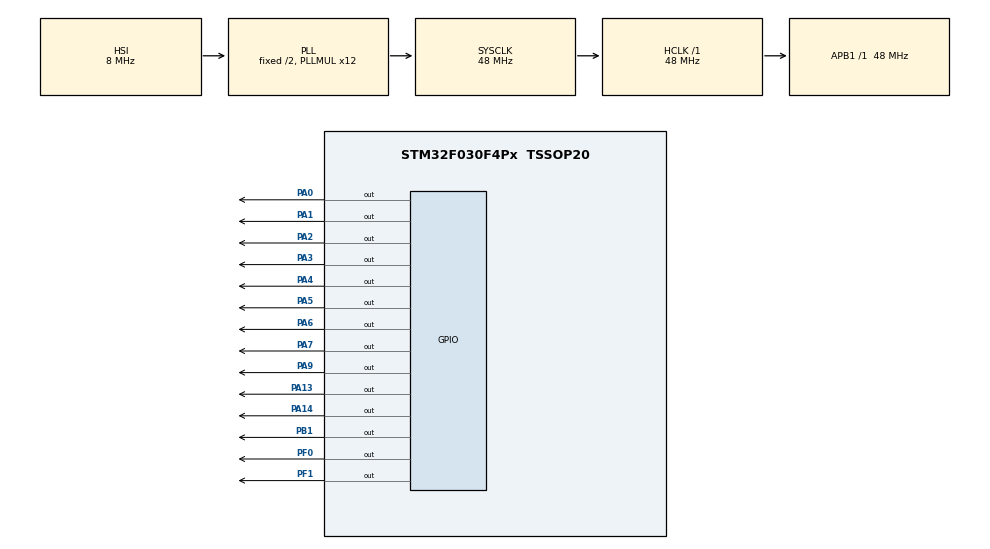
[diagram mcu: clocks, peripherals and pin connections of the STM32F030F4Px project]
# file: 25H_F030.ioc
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Mcu.Family=STM32F0
Mcu.Name=STM32F030F4Px
Mcu.Package=TSSOP20
NVIC.TIM1_BRK_UP_TRG_COM_IRQn=true\:0\:0\:false\:false\:true\:true\:true
PA0.GPIO_ModeDefaultOutputPP=GPIO_MODE_OUTPUT_PP
PA0.GPIO_Speed=GPIO_SPEED_FREQ_HIGH
PA0.PinState=GPIO_PIN_SET
PA0.Signal=GPIO_Output
PA1.GPIO_ModeDefaultOutputPP=GPIO_MODE_OUTPUT_PP
PA1.GPIO_Speed=GPIO_SPEED_FREQ_HIGH
PA1.PinState=GPIO_PIN_SET
PA1.Signal=GPIO_Output
PA13.GPIO_Speed=GPIO_SPEED_FREQ_HIGH
PA13.Signal=GPIO_Output
PA14.GPIO_Speed=GPIO_SPEED_FREQ_HIGH
PA14.Signal=GPIO_Output
PA2.GPIO_ModeDefaultOutputPP=GPIO_MODE_OUTPUT_PP
PA2.GPIO_Speed=GPIO_SPEED_FREQ_HIGH
PA2.PinState=GPIO_PIN_SET
PA2.Signal=GPIO_Output
PA3.GPIO_ModeDefaultOutputPP=GPIO_MODE_OUTPUT_PP
PA3.GPIO_Speed=GPIO_SPEED_FREQ_HIGH
PA3.PinState=GPIO_PIN_SET
PA3.Signal=GPIO_Output
PA4.GPIO_Speed=GPIO_SPEED_FREQ_HIGH
PA4.Signal=GPIO_Output
PA5.GPIO_ModeDefaultOutputPP=GPIO_MODE_OUTPUT_PP
PA5.GPIO_Speed=GPIO_SPEED_FREQ_HIGH
PA5.PinState=GPIO_PIN_RESET
PA5.Signal=GPIO_Output
PA6.GPIO_ModeDefaultOutputPP=GPIO_MODE_OUTPUT_PP
PA6.GPIO_Speed=GPIO_SPEED_FREQ_HIGH
PA6.PinState=GPIO_PIN_RESET
PA6.Signal=GPIO_Output
PA7.GPIO_ModeDefaultOutputPP=GPIO_MODE_OUTPUT_PP
PA7.GPIO_Speed=GPIO_SPEED_FREQ_HIGH
PA7.PinState=GPIO_PIN_RESET
PA7.Signal=GPIO_Output
PA9.GPIO_Speed=GPIO_SPEED_FREQ_HIGH
PA9.Signal=GPIO_Output
PB1.GPIO_ModeDefaultOutputPP=GPIO_MODE_OUTPUT_PP
PB1.GPIO_Speed=GPIO_SPEED_FREQ_HIGH
PB1.PinState=GPIO_PIN_RESET
PB1.Signal=GPIO_Output
PF0-OSC_IN.GPIO_ModeDefaultOutputPP=GPIO_MODE_OUTPUT_PP
PF0-OSC_IN.GPIO_Speed=GPIO_SPEED_FREQ_HIGH
PF0-OSC_IN.PinState=GPIO_PIN_SET
PF0-OSC_IN.Signal=GPIO_Output
PF1-OSC_OUT.GPIO_ModeDefaultOutputPP=GPIO_MODE_OUTPUT_PP
PF1-OSC_OUT.GPIO_Speed=GPIO_SPEED_FREQ_HIGH
PF1-OSC_OUT.PinState=GPIO_PIN_SET
PF1-OSC_OUT.Signal=GPIO_Output
ProjectManager.HeapSize=0x200
ProjectManager.StackSize=0x400
ProjectManager.TargetToolchain=MDK-ARM V5
RCC.AHBFreq_Value=48000000
RCC.APB1Freq_Value=48000000
RCC.APB1TimFreq_Value=48000000
RCC.HCLKFreq_Value=48000000
RCC.PLLMUL=RCC_PLL_MUL12
RCC.SYSCLKFreq_VALUE=48000000
RCC.SYSCLKSource=RCC_SYSCLKSOURCE_PLLCLK
TIM1.Period=100
TIM1.Prescaler=4607
VP_TIM1_VS_ClockSourceINT.Mode=Internal
board=custom

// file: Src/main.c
/* USER CODE BEGIN Header */
/**
  ******************************************************************************
  * @file           : main.c
  * @brief          : Main program body
  ******************************************************************************
  * @attention
  *
  * <h2><center>&copy; Copyright (c) 2019 STMicroelectronics.
  * All rights reserved.</center></h2>
  *
  * This software component is licensed by ST under BSD 3-Clause license,
  * the "License"; You may not use this file except in compliance with the
  * License. You may obtain a copy of the License at:
  *                        opensource.org/licenses/BSD-3-Clause
  *
  ******************************************************************************
  */
/* USER CODE END Header */

#include "main.h"

/* USER CODE BEGIN PD */
//时间
struct Time{
	uint16_t second;
	uint16_t minute;
	uint16_t hour;
	uint16_t cnt;
}time_25h;

//映射位选端口
GPIO_TypeDef *WeiGPIO[6] =	{
	GPIOA,
	GPIOA,
	GPIOA,
	GPIOB,
	GPIOA,
	GPIOA
};

uint16_t WeiPin[6]=
{
	GPIO_PIN_14,
	GPIO_PIN_13,
	GPIO_PIN_9,
	GPIO_PIN_1,
	GPIO_PIN_7,
	GPIO_PIN_6
};

//映射段选端口
GPIO_TypeDef *DuanGPIO[8] =	{
	GPIOF,
	GPIOF,
	GPIOA,
	GPIOA,
	GPIOA,
	GPIOA,
	GPIOA,
	GPIOA,
};

uint16_t DuanPin[8]=
{
	GPIO_PIN_0,
	GPIO_PIN_1,
	GPIO_PIN_0,
	GPIO_PIN_1,
	GPIO_PIN_2,
	GPIO_PIN_3,
	GPIO_PIN_4,
	GPIO_PIN_5
};
/* USER CODE END PD */

TIM_HandleTypeDef htim1;

/* USER CODE BEGIN PV */
//无所谓共阴共阳表，只不过取反操作，用“1”做测试
uint8_t NixieGraphNegative[16]={0x3F, 0x06, 0x5B, 0x4F, 0x66, 0x6D, 0x7D, 0x07,	0x7F, 0x6F, 0x77, 0x7C, 0x39, 0x5E, 0x79, 0x71};//0-F
uint8_t NixieGraphPositive[16]={0xc0,	0xf9,	0xa4,	0xb0,	0x99,	0x92,	0x82,	0xf8,	0x80,	0x90,	0x88,	0x83,	0xc6,	0xa1,	0x86,	0x8e};
/* USER CODE END PV */

void SystemClock_Config(void);
static void MX_GPIO_Init(void);
static void MX_TIM1_Init(void);

/* USER CODE BEGIN 0 */

//BS (共阴数码管显示
/**
  * @brief  选择的位数及显示的数字
  *
  * @param  wei 选择显示位数
  * @param  num 当前位显示的数字
  * @retval None
  */
void NixieLightDisplay(uint8_t wei,uint8_t num)
{
	uint8_t tmp;
	int i,j;

//操作 段
	for(j=0;j<7;j++)
	{
		tmp = NixieGraphNegative[num];
		if(((tmp>>j)&0x01) == 0x01)
			HAL_GPIO_WritePin(DuanGPIO[j],DuanPin[j],GPIO_PIN_SET);
		else
			HAL_GPIO_WritePin(DuanGPIO[j],DuanPin[j],GPIO_PIN_RESET);
	}
//操作 位
//显示位亮，其他位取反
	for(i=0;i<6;i++)
	{
		if((wei-1)==i)//数码管1-6
			HAL_GPIO_WritePin(WeiGPIO[i],WeiPin[i],GPIO_PIN_RESET);
		else
			HAL_GPIO_WritePin(WeiGPIO[i],WeiPin[i],GPIO_PIN_SET);
	}

	if(wei == 5)//屏蔽秒十位点
			HAL_GPIO_WritePin(DuanGPIO[7],DuanPin[7],GPIO_PIN_RESET);
	else
			HAL_GPIO_WritePin(DuanGPIO[7],DuanPin[7],GPIO_PIN_SET);

}

//测试函数
//全亮
void pin_tst()
{
	for(int j=0;j<8;j++)
	{
			HAL_GPIO_WritePin(DuanGPIO[j],DuanPin[j],GPIO_PIN_RESET);
	}
	for(int i=0;i<6;i++)
	{
			HAL_GPIO_WritePin(WeiGPIO[i],WeiPin[i],GPIO_PIN_SET);

	}
}

//定时器回调函数，设定时间值
void HAL_TIM_PeriodElapsedCallback(TIM_HandleTypeDef *htim){

	if (htim==&htim1)
	{
		time_25h.cnt++;
		if(time_25h.cnt==100)
		{
				time_25h.cnt = 0;
				if(time_25h.second==0)
				{
					time_25h.second = 59;
					if(time_25h.minute==0)
					{
						time_25h.minute = 59;
						if(time_25h.hour==0)
						{
							time_25h.hour=24;
						}
						else
							time_25h.hour--;
					}
					else
						time_25h.minute--;
				}
				else
					time_25h.second--;
		}
	}
}
/* USER CODE END 0 */

int main(void)
{
  /* USER CODE BEGIN 1 */
	int F5_Hz=1;//动态扫描频率
  /* USER CODE END 1 */

  /* MCU Configuration--------------------------------------------------------*/

  /* Reset of all peripherals, Initializes the Flash interface and the Systick. */
  HAL_Init();

  /* Configure the system clock */
  SystemClock_Config();

  /* Initialize all configured peripherals */
  MX_GPIO_Init();
  MX_TIM1_Init();
  /* USER CODE BEGIN 2 */
	HAL_TIM_Base_Start_IT(&htim1);
  /* USER CODE END 2 */

  /* Infinite loop */
  while (1)
  {

    /* USER CODE BEGIN 3 */

		//动态扫描
		NixieLightDisplay(1,time_25h.hour/10);
		HAL_Delay(F5_Hz);
		NixieLightDisplay(2,time_25h.hour%10);
		HAL_Delay(F5_Hz);
		NixieLightDisplay(3,time_25h.minute/10);
		HAL_Delay(F5_Hz);
		NixieLightDisplay(4,time_25h.minute%10);
		HAL_Delay(F5_Hz);
		NixieLightDisplay(5,time_25h.second/10);
		HAL_Delay(F5_Hz);
		NixieLightDisplay(6,time_25h.second%10);
		HAL_Delay(F5_Hz);

  }
  /* USER CODE END 3 */
}

void SystemClock_Config(void)
{
  RCC_OscInitTypeDef RCC_OscInitStruct = {0};
  RCC_ClkInitTypeDef RCC_ClkInitStruct = {0};

  /** Initializes the CPU, AHB and APB busses clocks
  */
  RCC_OscInitStruct.OscillatorType = RCC_OSCILLATORTYPE_HSI;
  RCC_OscInitStruct.HSIState = RCC_HSI_ON;
  RCC_OscInitStruct.HSICalibrationValue = RCC_HSICALIBRATION_DEFAULT;
  RCC_OscInitStruct.PLL.PLLState = RCC_PLL_ON;
  RCC_OscInitStruct.PLL.PLLSource = RCC_PLLSOURCE_HSI;
  RCC_OscInitStruct.PLL.PLLMUL = RCC_PLL_MUL12;
  RCC_OscInitStruct.PLL.PREDIV = RCC_PREDIV_DIV1;
  if (HAL_RCC_OscConfig(&RCC_OscInitStruct) != HAL_OK)
  {
    Error_Handler();
  }
  /** Initializes the CPU, AHB and APB busses clocks
  */
  RCC_ClkInitStruct.ClockType = RCC_CLOCKTYPE_HCLK|RCC_CLOCKTYPE_SYSCLK
                              |RCC_CLOCKTYPE_PCLK1;
  RCC_ClkInitStruct.SYSCLKSource = RCC_SYSCLKSOURCE_PLLCLK;
  RCC_ClkInitStruct.AHBCLKDivider = RCC_SYSCLK_DIV1;
  RCC_ClkInitStruct.APB1CLKDivider = RCC_HCLK_DIV1;

  if (HAL_RCC_ClockConfig(&RCC_ClkInitStruct, FLASH_LATENCY_1) != HAL_OK)
  {
    Error_Handler();
  }
}

static void MX_TIM1_Init(void)
{

  TIM_ClockConfigTypeDef sClockSourceConfig = {0};
  TIM_MasterConfigTypeDef sMasterConfig = {0};

  htim1.Instance = TIM1;
  htim1.Init.Prescaler = 4607;
  htim1.Init.CounterMode = TIM_COUNTERMODE_UP;
  htim1.Init.Period = 100;
  htim1.Init.ClockDivision = TIM_CLOCKDIVISION_DIV1;
  htim1.Init.RepetitionCounter = 0;
  htim1.Init.AutoReloadPreload = TIM_AUTORELOAD_PRELOAD_DISABLE;
  if (HAL_TIM_Base_Init(&htim1) != HAL_OK)
  {
    Error_Handler();
  }
  sClockSourceConfig.ClockSource = TIM_CLOCKSOURCE_INTERNAL;
  if (HAL_TIM_ConfigClockSource(&htim1, &sClockSourceConfig) != HAL_OK)
  {
    Error_Handler();
  }
  sMasterConfig.MasterOutputTrigger = TIM_TRGO_RESET;
  sMasterConfig.MasterSlaveMode = TIM_MASTERSLAVEMODE_DISABLE;
  if (HAL_TIMEx_MasterConfigSynchronization(&htim1, &sMasterConfig) != HAL_OK)
  {
    Error_Handler();
  }

}

static void MX_GPIO_Init(void)
{
  GPIO_InitTypeDef GPIO_InitStruct = {0};

  /* GPIO Ports Clock Enable */
  __HAL_RCC_GPIOF_CLK_ENABLE();
  __HAL_RCC_GPIOA_CLK_ENABLE();
  __HAL_RCC_GPIOB_CLK_ENABLE();

  /*Configure GPIO pin Output Level */
  HAL_GPIO_WritePin(GPIOF, GPIO_PIN_0|GPIO_PIN_1, GPIO_PIN_SET);

  /*Configure GPIO pin Output Level */
  HAL_GPIO_WritePin(GPIOA, GPIO_PIN_0|GPIO_PIN_1|GPIO_PIN_2|GPIO_PIN_3, GPIO_PIN_SET);

  /*Configure GPIO pin Output Level */
  HAL_GPIO_WritePin(GPIOA, GPIO_PIN_4|GPIO_PIN_5|GPIO_PIN_6|GPIO_PIN_7
                          |GPIO_PIN_9|GPIO_PIN_13|GPIO_PIN_14, GPIO_PIN_RESET);

  /*Configure GPIO pin Output Level */
  HAL_GPIO_WritePin(GPIOB, GPIO_PIN_1, GPIO_PIN_RESET);

  /*Configure GPIO pins : PF0 PF1 */
  GPIO_InitStruct.Pin = GPIO_PIN_0|GPIO_PIN_1;
  GPIO_InitStruct.Mode = GPIO_MODE_OUTPUT_PP;
  GPIO_InitStruct.Pull = GPIO_NOPULL;
  GPIO_InitStruct.Speed = GPIO_SPEED_FREQ_HIGH;
  HAL_GPIO_Init(GPIOF, &GPIO_InitStruct);

  /*Configure GPIO pins : PA0 PA1 PA2 PA3
                           PA4 PA5 PA6 PA7
                           PA9 PA13 PA14 */
  GPIO_InitStruct.Pin = GPIO_PIN_0|GPIO_PIN_1|GPIO_PIN_2|GPIO_PIN_3
                          |GPIO_PIN_4|GPIO_PIN_5|GPIO_PIN_6|GPIO_PIN_7
                          |GPIO_PIN_9|GPIO_PIN_13|GPIO_PIN_14;
  GPIO_InitStruct.Mode = GPIO_MODE_OUTPUT_PP;
  GPIO_InitStruct.Pull = GPIO_NOPULL;
  GPIO_InitStruct.Speed = GPIO_SPEED_FREQ_HIGH;
  HAL_GPIO_Init(GPIOA, &GPIO_InitStruct);

  /*Configure GPIO pin : PB1 */
  GPIO_InitStruct.Pin = GPIO_PIN_1;
  GPIO_InitStruct.Mode = GPIO_MODE_OUTPUT_PP;
  GPIO_InitStruct.Pull = GPIO_NOPULL;
  GPIO_InitStruct.Speed = GPIO_SPEED_FREQ_HIGH;
  HAL_GPIO_Init(GPIOB, &GPIO_InitStruct);

}

void Error_Handler(void)
{
}

/************************ (C) COPYRIGHT STMicroelectronics *****END OF FILE****/
